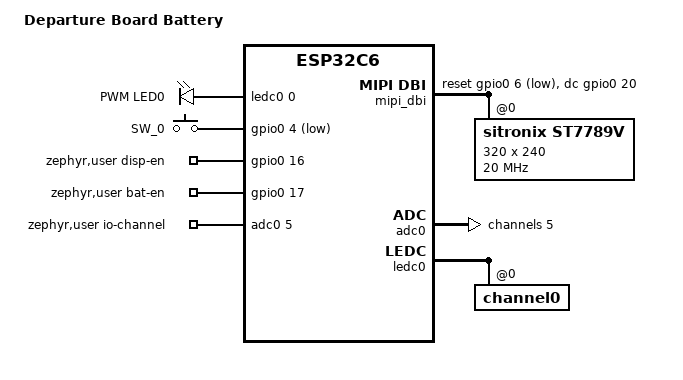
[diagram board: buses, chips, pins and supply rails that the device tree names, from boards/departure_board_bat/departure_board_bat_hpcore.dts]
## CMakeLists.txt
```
cmake_minimum_required(VERSION 3.20.0)

set(BOARD_ROOT ${CMAKE_CURRENT_SOURCE_DIR})
# Default board; "west build -b <board>" still overrides it.
if(NOT DEFINED BOARD AND NOT DEFINED ENV{BOARD})
  set(BOARD departure_board_eink/esp32c6/hpcore)
endif()

find_package(Zephyr REQUIRED HINTS $ENV{ZEPHYR_BASE})
project(departure_board)

target_sources(app PRIVATE
  src/main.c
  src/hw/hw.c
  src/net/http_client.c
  src/net/ntp.c
  src/net/wifi.c
  src/transport/transport.c
  src/transport/vrs.c
  src/transport/motis.c
  src/util/json_util.c
  src/util/time_util.c
  src/config/shell.c
  src/config/config.c
)

# A 1 bpp panel gets its own screens: the colour layout's line badges and small type do not
# survive the loss of colour, so each display keeps its own implementation of ui.h.
if(CONFIG_LV_COLOR_DEPTH_1)
  target_sources(app PRIVATE src/ui/ui_mono.c)
else()
  target_sources(app PRIVATE src/ui/ui.c)
endif()

target_sources_ifdef(CONFIG_DT_HAS_APP_DISPLAY_ROTATE_ENABLED app PRIVATE src/hw/display_rotate.c)

target_include_directories(app PRIVATE src lib/jsmn)

# Root certificates for the TLS peer check, turned into C array bodies for http_client.c.
set(gen_dir ${ZEPHYR_BINARY_DIR}/include/generated)
foreach(cert isrg_root_x1 isrg_root_ye)
  generate_inc_file_for_target(app certs/${cert}.der ${gen_dir}/${cert}.der.inc)
endforeach()

# Add Git version information if tagged with v.
execute_process(
  COMMAND git describe --tags --exact-match --match "v*" --dirty
  WORKING_DIRECTORY ${CMAKE_CURRENT_SOURCE_DIR}
  OUTPUT_VARIABLE APP_GIT_VERSION
  OUTPUT_STRIP_TRAILING_WHITESPACE
  ERROR_QUIET
)
# If the above fails, fall back to a hash of current commit.
if(NOT APP_GIT_VERSION)
  execute_process(
    COMMAND git describe --always --dirty
    WORKING_DIRECTORY ${CMAKE_CURRENT_SOURCE_DIR}
    OUTPUT_VARIABLE APP_GIT_VERSION
    OUTPUT_STRIP_TRAILING_WHITESPACE
    ERROR_QUIET
  )
endif()
if(NOT APP_GIT_VERSION)
  set(APP_GIT_VERSION "unknown")
endif()
target_compile_definitions(app PRIVATE APP_GIT_VERSION="${APP_GIT_VERSION}")

# Update the tag if something in the .git directory changes.
foreach(git_path HEAD index refs/tags)
  if(EXISTS ${CMAKE_CURRENT_SOURCE_DIR}/.git/${git_path})
    set_property(DIRECTORY APPEND PROPERTY CMAKE_CONFIGURE_DEPENDS
                 ${CMAKE_CURRENT_SOURCE_DIR}/.git/${git_path})
  endif()
endforeach()
```

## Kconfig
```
menu "Departure Board"

config APP_DISPLAY_BRIGHTNESS
	int "Display brightness in percent"
	default 50
	help
	  Backlight duty cycle, 0-100. Applied at boot before the settings are read.

config APP_DISPLAY_TIME_SEC
	int "Seconds the departure board stays on screen"
	default 30
	help
	  How long a successful update is shown before the device goes back to sleep.

config APP_ERROR_DISPLAY_TIME_SEC
	int "Seconds an error or warning stays on screen"
	default 10
	help
	  How long a fetch error or the low battery warning is shown before the device
	  goes back to sleep.

config APP_CONFIG_TIMEOUT_DEFAULT_SEC
	int "Default config mode timeout in seconds"
	default 300
	help
	  Sets advanced/config_timeout when the device has never been configured.

config APP_BUTTON_HOLD_SEC
	int "Seconds the button must be held to enter config mode"
	default 3
	help
	  How long the button must be held at boot to enter configuration mode.

config APP_BATTERY_LOW_CUTOFF_MV
	int "Battery cutoff in millivolts below which the wifi cycle is skipped"
	default 3700
	help
	  Below this measured voltage the device shows a warning and goes straight back to sleep
	  rather than bringing up the radio.

config APP_WATCHDOG_TIMEOUT_MARGIN_SEC
	int "Watchdog margin on top of the longest awake time in seconds"
	default 10
	help
	  The watchdog is armed once at startup and disabled again before entering
	  deep sleep. On expiry the device reboots.

config APP_WATCHDOG_TIMEOUT_MIN_SEC
	int "Minimum watchdog timeout in seconds"
	default 90
	help
	  Lower bound for the watchdog timeout.

# Per-module log levels

module = APP
module-str = app
source "subsys/logging/Kconfig.template.log_config"

module = APP_HW
module-str = app_hw
source "subsys/logging/Kconfig.template.log_config"

module = APP_DISPLAY_ROTATE
module-str = app_display_rotate
source "subsys/logging/Kconfig.template.log_config"

module = APP_CONFIG
module-str = app_config
source "subsys/logging/Kconfig.template.log_config"

module = APP_SHELL
module-str = app_shell
source "subsys/logging/Kconfig.template.log_config"

module = APP_HTTP_CLIENT
module-str = app_http_client
source "subsys/logging/Kconfig.template.log_config"

module = APP_WIFI
module-str = app_wifi
source "subsys/logging/Kconfig.template.log_config"

module = APP_NTP
module-str = app_ntp
source "subsys/logging/Kconfig.template.log_config"

module = APP_VRS
module-str = app_vrs
source "subsys/logging/Kconfig.template.log_config"

module = APP_MOTIS
module-str = app_motis
source "subsys/logging/Kconfig.template.log_config"

module = APP_TRANSPORT
module-str = app_transport
source "subsys/logging/Kconfig.template.log_config"

endmenu

source "Kconfig.zephyr"
```

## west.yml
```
manifest:
  version: 1.2

  self:
    path: departure-board-zephyr

  projects:
    - name: zephyr
      revision: v4.5.0
      url: https://github.com/zephyrproject-rtos/zephyr
      submodules: true
      import:
        path-prefix: zephyrproject
        name-allowlist:
          - zephyr
          - hal_espressif
          - mbedtls
          - tf-psa-crypto
          - lvgl
```

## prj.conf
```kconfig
# Kernel / system
CONFIG_SMF=y
CONFIG_REBOOT=y
CONFIG_RESET_ON_FATAL_ERROR=y
CONFIG_POWEROFF=y
CONFIG_POSIX_API=y

# Logging
CONFIG_LOG=y
CONFIG_LOG_MODE_IMMEDIATE=y
CONFIG_NET_LOG=y

# Stack and heap sizes
CONFIG_MAIN_STACK_SIZE=8192
CONFIG_ESP32_TIMER_TASK_STACK_SIZE=1024
CONFIG_SHELL_STACK_SIZE=1024
CONFIG_NET_TCP_WORKQ_STACK_SIZE=1024
CONFIG_NET_TX_STACK_SIZE=2048
CONFIG_HEAP_MEM_POOL_SIZE=65536

# Drivers
CONFIG_DISPLAY=y
CONFIG_INPUT=y
CONFIG_WATCHDOG=y

# GUI
CONFIG_LVGL=y
CONFIG_LV_FONT_MONTSERRAT_10=y
CONFIG_LV_FONT_MONTSERRAT_12=y
CONFIG_LV_FONT_MONTSERRAT_20=y
CONFIG_LV_Z_MEM_POOL_SIZE=32768

# Networking
CONFIG_NETWORKING=y
CONFIG_NET_IPV4=y
CONFIG_NET_IPV6=n
CONFIG_NET_TCP=y
CONFIG_NET_DHCPV4=y
CONFIG_NET_DHCPV4_INITIAL_DELAY_MAX=2
CONFIG_DNS_RESOLVER=y
CONFIG_HTTP_CLIENT=y
CONFIG_SNTP=y
CONFIG_NET_MGMT_EVENT_QUEUE_SIZE=24
CONFIG_NET_BUF_RX_COUNT=40
CONFIG_NET_BUF_TX_COUNT=40
CONFIG_NET_SOCKETS_CONNECT_TIMEOUT=20000
CONFIG_NET_SOCKETS_TLS_CONNECT_TIMEOUT=60000

# Wi-Fi
CONFIG_WIFI=y
CONFIG_WIFI_NM=y
CONFIG_ESP32_WIFI_STA_RECONNECT=y

# TLS sockets
CONFIG_NET_SOCKETS_SOCKOPT_TLS=y
CONFIG_NET_SOCKETS_TLS_MAX_CONTEXTS=1

# mbedTLS
CONFIG_MBEDTLS_ENABLE_HEAP=y
CONFIG_MBEDTLS_HEAP_SIZE=49152
CONFIG_MBEDTLS_SSL_IN_CONTENT_LEN=16384
CONFIG_MBEDTLS_SSL_OUT_CONTENT_LEN=2048
CONFIG_MBEDTLS_SSL_SERVER_NAME_INDICATION=y
CONFIG_MBEDTLS_CIPHERSUITE_TLS_ECDHE_ECDSA_WITH_AES_128_GCM_SHA256=y
CONFIG_MBEDTLS_CIPHERSUITE_TLS_ECDHE_ECDSA_WITH_AES_256_GCM_SHA384=y
CONFIG_MBEDTLS_CIPHERSUITE_TLS_ECDHE_RSA_WITH_AES_128_CBC_SHA256=y
CONFIG_MBEDTLS_CIPHERSUITE_TLS_ECDHE_RSA_WITH_AES_128_GCM_SHA256=y
CONFIG_MBEDTLS_CIPHERSUITE_TLS_ECDHE_RSA_WITH_AES_256_GCM_SHA384=y
CONFIG_PSA_WANT_ECC_SECP_R1_384=y
CONFIG_PSA_WANT_ECC_MONTGOMERY_255=y

# Storage / settings
CONFIG_FLASH=y
CONFIG_FLASH_MAP=y
CONFIG_ZMS=y
CONFIG_SETTINGS=y

# Shell
CONFIG_SHELL=y
CONFIG_SETTINGS_SHELL=y
# CONFIG_SHELL_WILDCARD is not set
# CONFIG_SHELL_CMDS is not set
# CONFIG_DATE_SHELL is not set
# CONFIG_DEVICE_SHELL is not set
# CONFIG_DEVMEM_SHELL is not set
# CONFIG_KERNEL_SHELL is not set
```

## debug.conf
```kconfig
# Debug log levels, layered over prj.conf:
#   west build -d build -- -DEXTRA_CONF_FILE=debug.conf
CONFIG_APP_CONFIG_LOG_LEVEL_DBG=y
CONFIG_APP_SHELL_LOG_LEVEL_DBG=y
CONFIG_SETTINGS_LOG_LEVEL_DBG=y

CONFIG_SYSTEM_WORKQUEUE_STACK_SIZE=1536

CONFIG_MBEDTLS_DEBUG=y

# Very verbose, enable when chasing a network or TLS problem.
#CONFIG_MBEDTLS_LOG_LEVEL_DBG=y
#CONFIG_NET_SOCKETS_LOG_LEVEL_DBG=y
```

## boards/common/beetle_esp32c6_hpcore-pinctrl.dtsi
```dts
#include <zephyr/dt-bindings/pinctrl/esp-pinctrl-common.h>
#include <zephyr/dt-bindings/pinctrl/esp32c6-pinctrl.h>
#include <zephyr/dt-bindings/pinctrl/esp32c6-gpio-sigmap.h>

/* The Beetle's stock UART0 sat on GPIO16/17. Both are carrier-control lines now
 * (disp-en and bat-en), so uart0 keeps a pin-free pinctrl state; the console runs over
 * usb_serial instead. */

&pinctrl {
	/* The empty pinmux is needed. */
	uart0_default: uart0_default {
		group1 {
			pinmux = <>;
			output-high;
		};

		group2 {
			pinmux = <>;
			bias-pull-up;
		};
	};

	spim2_default: spim2_default {
		group1 {
			pinmux = <SPIM2_MISO_GPIO21>,
				 <SPIM2_SCLK_GPIO23>,
				 <SPIM2_CSEL_GPIO7>;
		};

		group2 {
			pinmux = <SPIM2_MOSI_GPIO22>;
			output-low;
		};
	};

	i2c0_default: i2c0_default {
		group1 {
			pinmux = <I2C0_SDA_GPIO19>,
				 <I2C0_SCL_GPIO20>;
			bias-pull-up;
			drive-open-drain;
			output-high;
		};
	};

	i2s_default: i2s_default {
		group1 {
			pinmux = <I2S_O_SD_GPIO8>;
			output-enable;
		};
	};

	ledc0_default: ledc0_default {
		group1 {
			pinmux = <LEDC_CH0_GPIO19>;
			output-enable;
		};
	};
};
```

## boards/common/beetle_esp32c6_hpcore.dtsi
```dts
/dts-v1/;

#include <espressif/esp32c6/esp32c6.dtsi>
#include "beetle_esp32c6_hpcore-pinctrl.dtsi"
#include <zephyr/dt-bindings/input/input-event-codes.h>
#include <zephyr/dt-bindings/led/led.h>
#include <espressif/partitions_0x0_default.dtsi>

/ {
	model = "DFRobot Beetle ESP32-C6 HP Core";
	compatible = "dfrobot,firebeetle2_esp32c6";

	chosen {
		zephyr,sram = &sramhp;
		zephyr,console = &usb_serial;
		zephyr,shell-uart = &usb_serial;
		zephyr,flash = &flash0;
		zephyr,code-partition = &slot0_partition;
		led0 = &led;
	};

	aliases {
		watchdog0 = &wdt0;
		led0 = &led;
	};

	leds {
		compatible = "gpio-leds";

		led: led {
			gpios = <&gpio0 15 GPIO_ACTIVE_HIGH>;
			label = "LED";
		};
	};
};

/* The ESP32-C6-WROOM-1U-N4 module on the Beetle carries 4 MB of flash. */
&flash0 {
	reg = <0x0 DT_SIZE_M(4)>;
	ranges = <0x0 0x0 DT_SIZE_M(4)>;
};

&uart0 {
	status = "okay";
	current-speed = <115200>;
	pinctrl-0 = <&uart0_default>;
	pinctrl-names = "default";
};

/* i2c0 and i2s are left at the SoC default (disabled) on purpose - see the pin notes in
 * beetle_esp32c6_hpcore-pinctrl.dtsi. Their stock pins are taken by carrier hardware on
 * every board that includes this file, so enabling them here would hand a board a
 * peripheral that silently fights the display. A board that really wires one of them up
 * enables it, with its own pinctrl, in its own .dts. */

&trng0 {
	status = "okay";
};

&spi2 {
	#address-cells = <1>;
	#size-cells = <0>;
	status = "okay";
	pinctrl-0 = <&spim2_default>;
	pinctrl-names = "default";
};

&gpio0 {
	status = "okay";
};

&wdt0 {
	status = "okay";
};

&wifi {
	status = "okay";
};

&usb_serial {
	status = "okay";
};
```

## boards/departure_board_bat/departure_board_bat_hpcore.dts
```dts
#include "../common/beetle_esp32c6_hpcore.dtsi"
#include <zephyr/dt-bindings/mipi_dbi/mipi_dbi.h>
#include <zephyr/dt-bindings/display/panel.h>
#include <zephyr/dt-bindings/pwm/pwm.h>

/ {
	model = "Departure Board Battery";
	compatible = "departure-board-bat";

	chosen {
		zephyr,display = &st7789v;
	};

	aliases {
		ledbacklight = &leddisp;
		sw0 = &user_btn;
		adc = &adc0;
	};

	mipi_dbi {
		compatible = "zephyr,mipi-dbi-spi";
		#address-cells = <1>;
		#size-cells = <0>;
		spi-dev = <&spi2>;
		dc-gpios = <&gpio0 20 GPIO_ACTIVE_HIGH>;
		reset-gpios = <&gpio0 6 GPIO_ACTIVE_LOW>;
		write-only;

		st7789v: st7789v@0 {
			compatible = "sitronix,st7789v";
			mipi-max-frequency = <20000000>;
			reg = <0>;
			width = <320>;
			height = <240>;
			x-offset = <0>;
			y-offset = <0>;
			vcom = <0x19>;
			gctrl = <0x35>;
			vrhs = <0x12>;
			vdvs = <0x20>;
			/* MADCTL. D6/D5/D4 set the landscape orientation; D3 is the RGB/BGR
			 * order bit and stays clear, so the panel reads pixels as plain RGB
			 * and colours can be written the way they are published.
			 */
			mdac = <0x70>;
			gamma = <0x01>;
			pixel-format = <PANEL_PIXEL_FORMAT_RGB_565>;
			lcm = <0x2c>;
			porch-param = [0c 0c 00 33 33];
			cmd2en-param = [5a 69 02 01];
			pwctrl1-param = [a4 a1];
			pvgam-param = [D0 05 0A 09 08 05 2E 44 45 0F 17 16 2B 33];
			nvgam-param = [D0 05 0A 09 08 05 2E 43 45 0F 16 16 2B 33];
			ram-param = [00 f0];
			rgb-param = [cd 08 14];
			mipi-mode = "MIPI_DBI_MODE_SPI_4WIRE";
			status = "okay";
		};
	};

	pwmleds {
		compatible = "pwm-leds";

		leddisp: pwm_led_gpio0_19 {
			label = "PWM LED0";
			pwms = <&ledc0 0 PWM_HZ(1000) PWM_POLARITY_NORMAL>;
		};
	};

	gpio_keys {
		compatible = "gpio-keys";

		user_btn: button_0 {
			label = "SW_0";
			gpios = <&gpio0 4 (GPIO_PULL_UP | GPIO_ACTIVE_LOW)>;
			zephyr,code = <INPUT_KEY_0>;
		};
	};

	longpress {
		compatible = "zephyr,input-longpress";
		input-codes = <INPUT_KEY_0>;
		short-codes = <INPUT_KEY_S>;
		long-codes = <INPUT_KEY_L>;
		long-delay-ms = <4000>;
	};

	zephyr,user {
		/* ADC1 channel 5 is GPIO5, where the battery divider lands. */
		io-channels = <&adc0 5>;
		/* Battery divider: high side from the battery to the ADC pin, low side to GND. */
		vbatt-high-side-ohms = <220000>;
		vbatt-low-side-ohms = <220000>;
		disp-en-gpios = <&gpio0 16 GPIO_ACTIVE_HIGH>;
		bat-en-gpios = <&gpio0 17 GPIO_ACTIVE_HIGH>;
	};
};

&adc0 {
	#address-cells = <1>;
	#size-cells = <0>;
	status = "okay";

	channel@5 {
		reg = <5>;
		zephyr,gain = "ADC_GAIN_1_4";
		zephyr,reference = "ADC_REF_INTERNAL";
		zephyr,acquisition-time = <ADC_ACQ_TIME_DEFAULT>;
		zephyr,resolution = <12>;
	};
};

&ledc0 {
	pinctrl-0 = <&ledc0_default>;
	pinctrl-names = "default";
	status = "okay";
	#address-cells = <1>;
	#size-cells = <0>;

	channel0@0 {
		reg = <0x0>;
		timer = <0>;
	};
};
```

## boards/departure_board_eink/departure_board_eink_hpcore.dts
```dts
#include "../common/beetle_esp32c6_hpcore.dtsi"

/ {
	model = "Departure Board E-Ink";
	compatible = "departure-board-eink";

	chosen {
		zephyr,display = &display_rot;
	};

	aliases {
		sw0 = &user_btn;
	};

	mipi_dbi {
		compatible = "zephyr,mipi-dbi-spi";
		#address-cells = <1>;
		#size-cells = <0>;
		spi-dev = <&spi2>;
		dc-gpios = <&gpio0 20 GPIO_ACTIVE_HIGH>;
		reset-gpios = <&gpio0 6 GPIO_ACTIVE_LOW>;
		write-only;

		epd: uc8253@0 {
			compatible = "ultrachip,uc8253";
			mipi-max-frequency = <4000000>;
			mipi-mode = "MIPI_DBI_MODE_SPI_4WIRE";
			reg = <0>;
			busy-gpios = <&gpio0 19 GPIO_ACTIVE_LOW>;
			width = <240>;
			height = <416>;

			full {
				ccset = <0x00>;
			};

			partial {
				ccset = <0x02>;
				tsset = <0x6E>;
			};
		};
	};

	/* The panel scans portrait, the UI is landscape. See the binding for why neither the
	 * uc81xx driver nor LVGL can turn it themselves.
	 */
	display_rot: display_rot {
		compatible = "app,display-rotate";
		display = <&epd>;
		width = <416>;
		height = <240>;

		full-refresh-interval = <60>;
	};

	gpio_keys {
		compatible = "gpio-keys";

		user_btn: button_0 {
			label = "SW_0";
			gpios = <&gpio0 4 (GPIO_PULL_UP | GPIO_ACTIVE_LOW)>;
			zephyr,code = <INPUT_KEY_0>;
		};
	};

	longpress {
		compatible = "zephyr,input-longpress";
		input-codes = <INPUT_KEY_0>;
		short-codes = <INPUT_KEY_S>;
		long-codes = <INPUT_KEY_L>;
		long-delay-ms = <4000>;
	};
};
```

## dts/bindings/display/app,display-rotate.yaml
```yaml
# Copyright (c) 2026 Sebastian Salveter
# SPDX-License-Identifier: Apache-2.0

description: |
  Presents a monochrome display rotated 90 degrees clockwise.

  The UC8253 panel scans portrait (240 x 416) and has no rotation of its own:
  uc81xx implements no set_orientation, and LVGL cannot rotate for it either,
  because lv_draw_sw_rotate and lv_draw_sw_transform both skip the I1 colour
  format a 1 bit panel forces. So this node sits between LVGL and the panel,
  takes landscape writes and transposes them into the panel's orientation.

  width and height describe the rotated view, so they are the panel's height
  and width swapped.

compatible: "app,display-rotate"

include: display-controller.yaml

properties:
  display:
    type: phandle
    required: true
    description: The panel this node rotates.

  full-refresh-interval:
    type: int
    default: 60
    description: |
      How many refreshes on the panel's partial profile to allow before one is done on its
      full profile instead.

      A fast partial waveform moves only the pixels that changed, which is the point of it,
      but it also never resets the particle distribution the way a full refresh does.
      Ghosting accumulates until something clears it, and this is what clears it. Counted in
      refreshes, not in application cycles: a cycle that redraws the screen more than once
      spends more than one.

      Ignored when the panel has no partial child node, since every refresh is a full one
      already. 0 disables the periodic clear entirely.
```

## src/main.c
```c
#include <stdio.h>

#include <zephyr/kernel.h>
#include <zephyr/logging/log.h>
#include <zephyr/settings/settings.h>
#include <zephyr/smf.h>
#include <zephyr/sys/reboot.h>
#include <zephyr/sys/util.h>

#include "departure_types.h"
#include <hw/hw.h>
#include <net/ntp.h>
#include <net/wifi.h>
#include <config/config.h>
#include <transport/transport.h>
#include <ui/ui.h>

LOG_MODULE_REGISTER(app, CONFIG_APP_LOG_LEVEL);

/* ---------------------------------------- App globals ----------------------------------------- */

/* Longest the network part of a wake can take. */
#define FETCH_MAX_SEC                                                                              \
	DIV_ROUND_UP(WIFI_CONNECT_TIMEOUT_MS + NTP_GET_TIME_MAX_MS + TRANSPORT_UPDATE_MAX_MS,          \
				 MSEC_PER_SEC)

/* Departures of the current wake, filled by the app state. */
static struct monitor_data monitor_data;

/* ---------------------------------------- State machine context ------------------------------- */

/* Forward declaration of state table */
static const struct smf_state monitor_states[];

/* List of monitor states */
enum monitor_state {
	STATE_INIT,
	STATE_HOLD,
	STATE_CONFIG,
	STATE_APP,
	STATE_LOW_BATTERY,
	STATE_IDLE
};

struct s_object {
	/* This must be first */
	struct smf_ctx ctx;

	/* Events */
	struct k_event smf_event;
	int32_t events;

	/* Other state specific data add here */
	struct device_config config;
	int32_t battery_voltage;
	bool config_requested;
	bool hold_expired;
};

static struct s_object s_obj;

/* ---------------------------------------- Events ---------------------------------------------- */

/* Events that drive the state machine. */
#define EVENT_BTN_PRESS_SHORT  BIT(0)
#define EVENT_BTN_PRESS_LONG   BIT(1)
#define EVENT_BTN_RELEASE_LONG BIT(2)
#define EVENT_TIMER_EXPIRED    BIT(3)

#define EVENT_ALL                                                                                  \
	(EVENT_BTN_PRESS_SHORT | EVENT_BTN_PRESS_LONG | EVENT_BTN_RELEASE_LONG | EVENT_TIMER_EXPIRED)

/* Timeout of the current state. */
static void state_timer_expiry(struct k_timer *timer)
{
	k_event_post(&s_obj.smf_event, EVENT_TIMER_EXPIRED);
}

static K_TIMER_DEFINE(state_timer, state_timer_expiry, NULL);

static void button_event(enum hw_button_event event)
{
	switch (event) {
	case HW_BUTTON_SHORT:
		k_event_post(&s_obj.smf_event, EVENT_BTN_PRESS_SHORT);
		break;
	case HW_BUTTON_LONG:
		k_event_post(&s_obj.smf_event, EVENT_BTN_PRESS_LONG);
		break;
	case HW_BUTTON_LONG_RELEASE:
		k_event_post(&s_obj.smf_event, EVENT_BTN_RELEASE_LONG);
		break;
	}
}

/* ---------------------------------------- Helpers --------------------------------------------- */

/* Clear the monitor data. */
static void monitor_data_clear(void)
{
	for (int m = 0; m < MONITOR_COUNT; m++) {
		for (int l = 0; l < DEPARTURE_LINE_COUNT; l++) {
			monitor_data.departures[m].lines[l] = DEPARTURE_LINE_EMPTY;
		}

		monitor_data.departures[m].updated[0] = '\0';
	}
}

/* ---------------------------------------- States ---------------------------------------------- */

/* State STATE_INIT - Config Check */
static void init_entry(void *o)
{
	LOG_INF("STATE INIT - Config Check");

	struct s_object *s = (struct s_object *)o;

	/* Checked before the config. Just got back to sleep as fast as possible.*/
	if (hw_has_battery() && s->battery_voltage < CONFIG_APP_BATTERY_LOW_CUTOFF_MV) {
		LOG_WRN("Battery at %d mV, below the %d mV cutoff. Skipping the wifi cycle.",
				s->battery_voltage, CONFIG_APP_BATTERY_LOW_CUTOFF_MV);
		smf_set_state(SMF_CTX(s), &monitor_states[STATE_LOW_BATTERY]);
		return;
	}

	/* Check if config is valid. */
	int ret = config_validate();

	if (ret || s->config_requested) {
		/* Configuration error or a request from the shell, enter configuration mode. */
		if (ret) {
			LOG_ERR("Configuration faulty!");
		} else {
			LOG_INF("Configuration mode requested for this boot.");
		}
		smf_set_state(SMF_CTX(s), &monitor_states[STATE_CONFIG]);
		return;
	}

	/* The config is known good from here on, so the configured brightness can be applied. */
	hw_display_set_brightness(s->config.device_brightness);

	/* User is holding down the button during startup, go to hold state. */
	if (hw_button_is_pressed()) {
		smf_set_state(SMF_CTX(s), &monitor_states[STATE_HOLD]);
	} else {
		smf_set_state(SMF_CTX(s), &monitor_states[STATE_APP]);
	}
}

/* State STATE_HOLD - Button held at boot. */
static void hold_entry(void *o)
{
	LOG_INF("STATE_HOLD");

	struct s_object *s = (struct s_object *)o;

	s->hold_expired = false;

	/* Button is pressed, start counting. */
	ui_button_pressed(false);
	k_timer_start(&state_timer, K_SECONDS(CONFIG_APP_BUTTON_HOLD_SEC), K_NO_WAIT);
}

static enum smf_state_result hold_run(void *o)
{
	struct s_object *s = (struct s_object *)o;

	if (s->events & EVENT_TIMER_EXPIRED) {
		/* Held for the full duration, enter config mode as soon as button is released. */
		s->hold_expired = true;
		ui_button_pressed(true);
	}

	if (s->events & (EVENT_BTN_PRESS_SHORT | EVENT_BTN_RELEASE_LONG)) {
		if (s->hold_expired) {
			smf_set_state(SMF_CTX(s), &monitor_states[STATE_CONFIG]);
		} else {
			/* Released early, go back to normal operation. */
			k_timer_stop(&state_timer);
			smf_set_state(SMF_CTX(s), &monitor_states[STATE_APP]);
		}
	}
	return SMF_EVENT_HANDLED;
}

/* State STATE_CONFIG - Enable configuration.*/
static void config_entry(void *o)
{
	LOG_INF("STATE CONFIG");
	ui_configuration();

	struct s_object *s = (struct s_object *)o;

	k_timer_start(&state_timer, K_SECONDS(s->config.advanced_config_timeout), K_NO_WAIT);
}

static enum smf_state_result config_run(void *o)
{
	struct s_object *s = (struct s_object *)o;

	/* Change states on Button Press Event. */
	if (s->events & (EVENT_BTN_PRESS_SHORT | EVENT_TIMER_EXPIRED)) {
		k_timer_stop(&state_timer);
		if (IS_ENABLED(CONFIG_APP_DEEP_SLEEP)) {
			smf_set_state(SMF_CTX(s), &monitor_states[STATE_IDLE]);
		} else {
			/* Settings only apply at boot, so reboot instead of idling with the old ones. */
			LOG_INF("Leaving config mode, rebooting.");
			sys_reboot(SYS_REBOOT_COLD);
		}
	}
	return SMF_EVENT_HANDLED;
}

/* State STATE_APP - Normal application operation. */
static void app_entry(void *o)
{
	LOG_INF("STATE_APP");

	struct s_object *s = (struct s_object *)o;

	const char *const labels[MONITOR_COUNT] = {s->config.monitor_a_label,
											   s->config.monitor_b_label};
	const char *const ids[MONITOR_COUNT] = {s->config.monitor_a_id, s->config.monitor_b_id};

	/* How long the result stays up with deep sleep. Errors show for the shorter time. */
	int32_t display_sec = CONFIG_APP_ERROR_DISPLAY_TIME_SEC;

	/* Set the labels. */
	monitor_data_clear();
	for (int m = 0; m < MONITOR_COUNT; m++) {
		snprintf(monitor_data.departures[m].label, sizeof(monitor_data.departures[m].label), "%s",
				 labels[m]);
	}

	/* Run status display. */
	ui_progress(s->battery_voltage, UI_STEP_PENDING, UI_STEP_PENDING);

	int ret = 0;

	/* Without deep sleep the connection is kept between cycles. */
	if (wifi_is_connected()) {
		LOG_INF("WiFi still connected.");
	} else {
		LOG_INF("Connecting to WiFi.");
		ret = wifi_connect(s->config.wifi_ssid, s->config.wifi_password);
	}

	if (ret) {
		LOG_ERR("Wifi connection failed: %d", ret);
		/* wifi_connect() has already stopped the driver's retries. */
		ui_progress(s->battery_voltage, ret, UI_STEP_PENDING);
		goto done;
	}

	/* Update display. */
	ui_progress(s->battery_voltage, 0, UI_STEP_PENDING);

	/* Update data. The departure minutes are counted from the current time. */
	int64_t current_time;

	ret = ntp_get_time(&current_time);
	if (ret == 0) {
		ret = transport_update(&monitor_data, s->config.monitor_module, ids,
							   s->config.monitor_base_link, s->config.advanced_tls_verify != 0,
							   current_time);
	}

	/* The fetch is over either way, nothing below this needs the radio. Without deep sleep the
	 * connection is kept for the next refresh.
	 */
	if (IS_ENABLED(CONFIG_APP_DEEP_SLEEP)) {
		wifi_disconnect();
	}

	if (ret) {
		LOG_ERR("Failed to update monitor data: %d", ret);
		ui_progress(s->battery_voltage, 0, ret);
		goto done;
	}

	/* Update display with the received data. */
	ui_update(&monitor_data, hw_battery_percent_from_mv(s->battery_voltage));
	display_sec = s->config.device_display_time;

done:
	/* Drop button and timer events posted while loading. */
	k_event_clear(&s->smf_event, EVENT_ALL);

	if (IS_ENABLED(CONFIG_APP_DEEP_SLEEP)) {
		/* Display the result for the specified duration. */
		k_timer_start(&state_timer, K_SECONDS(display_sec), K_NO_WAIT);
	} else {
		/* Idle right away, the result stays on screen until the next refresh. */
		smf_set_state(SMF_CTX(s), &monitor_states[STATE_IDLE]);
	}
}

static enum smf_state_result app_run(void *o)
{
	struct s_object *s = (struct s_object *)o;

	if (s->events & EVENT_BTN_PRESS_SHORT) {
		k_timer_stop(&state_timer);
		smf_set_state(SMF_CTX(s), &monitor_states[STATE_IDLE]);
	} else if (s->events & EVENT_TIMER_EXPIRED) {
		smf_set_state(SMF_CTX(s), &monitor_states[STATE_IDLE]);
	}
	return SMF_EVENT_HANDLED;
}

/* State STATE_LOW_BATTERY - Warn and go back to sleep without ever starting the radio. */
static void low_battery_entry(void *o)
{
	LOG_INF("STATE_LOW_BATTERY");

	struct s_object *s = (struct s_object *)o;

	ui_battery_low(s->battery_voltage);

	k_timer_start(&state_timer, K_SECONDS(CONFIG_APP_ERROR_DISPLAY_TIME_SEC), K_NO_WAIT);
}

static enum smf_state_result low_battery_run(void *o)
{
	struct s_object *s = (struct s_object *)o;

	/* Any button also ends the wake. */
	if (s->events & (EVENT_TIMER_EXPIRED | EVENT_BTN_PRESS_SHORT | EVENT_BTN_PRESS_LONG)) {
		k_timer_stop(&state_timer);
		smf_set_state(SMF_CTX(s), &monitor_states[STATE_IDLE]);
	}
	return SMF_EVENT_HANDLED;
}

/* State STATE_IDLE - Deep sleep, or wait for the next refresh without it. */
static void idle_entry(void *o)
{
	LOG_INF("STATE_IDLE");

#if defined(CONFIG_APP_DEEP_SLEEP)
	hw_enter_deep_sleep();
#else
	/* Watchdog needs to be fed in case we don't enter deep sleep. */
	hw_watchdog_feed();
	k_timer_start(&state_timer, K_SECONDS(CONFIG_APP_IDLE_INTERVAL_SEC), K_NO_WAIT);
#endif
}

static enum smf_state_result idle_run(void *o)
{
	/* Only reached without deep sleep, idle_entry powers off the device otherwise. */
	struct s_object *s = (struct s_object *)o;

	/* Any button refreshes right away. */
	if (s->events & (EVENT_TIMER_EXPIRED | EVENT_BTN_PRESS_SHORT | EVENT_BTN_PRESS_LONG)) {
		k_timer_stop(&state_timer);
		smf_set_state(SMF_CTX(s), &monitor_states[STATE_APP]);
	}
	return SMF_EVENT_HANDLED;
}

/* State table */
static const struct smf_state monitor_states[] = {
	[STATE_INIT] = SMF_CREATE_STATE(init_entry, NULL, NULL, NULL, NULL),
	[STATE_HOLD] = SMF_CREATE_STATE(hold_entry, hold_run, NULL, NULL, NULL),
	[STATE_CONFIG] = SMF_CREATE_STATE(config_entry, config_run, NULL, NULL, NULL),
	[STATE_APP] = SMF_CREATE_STATE(app_entry, app_run, NULL, NULL, NULL),
	[STATE_LOW_BATTERY] = SMF_CREATE_STATE(low_battery_entry, low_battery_run, NULL, NULL, NULL),
	[STATE_IDLE] = SMF_CREATE_STATE(idle_entry, idle_run, NULL, NULL, NULL),
};

/* ---------------------------------------- Main loop ------------------------------------------- */

int main(void)
{
	/* Initialize the event and register for button gestures before the rails come up, so that
	 * a button press during startup has somewhere to go.
	 */
	k_event_init(&s_obj.smf_event);
	hw_button_set_callback(button_event);

	if (hw_power_up()) {
		hw_device_failure("GPIO port");
	}

	/* Initialize settings subsystem and load configuration. */
	int ret = settings_subsys_init();

	if (ret == 0) {
		ret = settings_load();
	}
	if (ret < 0) {
		LOG_ERR("Failed to load settings: %d", ret);
	}

	s_obj.config_requested = config_check_boot_request();

	s_obj.config = *config_get();

	/* Arm the watchdog once the timeouts are known. With deep sleep it covers the whole wake and is
	 * not fed. Without it the idle state feeds it, so it covers one idle interval plus a refresh.
	 */
#if defined(CONFIG_APP_DEEP_SLEEP)
	int32_t update_sec =
		FETCH_MAX_SEC + MAX(s_obj.config.device_display_time, CONFIG_APP_ERROR_DISPLAY_TIME_SEC);
#else
	int32_t update_sec = FETCH_MAX_SEC + CONFIG_APP_IDLE_INTERVAL_SEC;
#endif
	int32_t config_sec = CONFIG_APP_BUTTON_HOLD_SEC + s_obj.config.advanced_config_timeout;

	if (hw_watchdog_start(MAX(update_sec, config_sec))) {
		hw_device_failure("Watchdog");
	}

	/* Read battery voltage.*/
	if (hw_has_battery()) {
		ret = hw_battery_read_mv(&s_obj.battery_voltage);
		if (ret < 0) {
			hw_device_failure("Battery ADC");
		}
		LOG_INF("Battery voltage: %d mV", s_obj.battery_voltage);
	}

	/* Check if devices have been initialized. */
	if (!hw_display_is_ready()) {
		hw_device_failure("Display");
	}

	/* Set backlight brightness. */
	hw_display_set_brightness(CONFIG_APP_DISPLAY_BRIGHTNESS);

	ui_clear();
	hw_display_blanking_off();

	/* Set initial state */
	smf_set_initial(SMF_CTX(&s_obj), &monitor_states[STATE_INIT]);

	/* Run the state machine */
	while (1) {
		/* Block until an event is detected */
		s_obj.events = k_event_wait_safe(&s_obj.smf_event, EVENT_ALL, false, K_FOREVER);

		/* State machine terminates if a non-zero value is returned */
		ret = smf_run_state(SMF_CTX(&s_obj));
		if (ret) {
			/* handle return code and terminate state machine */
			break;
		}
	}

	/* Should never be reached. Still caught by watchdog. */
	return 0;
}
```

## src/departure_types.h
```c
#ifndef APP_DEPARTURE_TYPES_H_
#define APP_DEPARTURE_TYPES_H_

#include <stdint.h>

struct departure_line {
	char line_number[5];
	uint32_t line_color;
	uint32_t line_text_color;
	char destination[17];
	int32_t departure_minutes; /* Minutes until departure, or DEPARTURE_NO_DATA. */
};

/* Departure_minutes of a row without a departure. */
#define DEPARTURE_NO_DATA (-1)

/* Initialiser for a row without a departure. */
#define DEPARTURE_LINE_EMPTY ((struct departure_line){.departure_minutes = DEPARTURE_NO_DATA})

/* Stations shown on the screen, A and B. */
#define MONITOR_COUNT 2

/* Departures listed per station. */
#define DEPARTURE_LINE_COUNT 2

struct departure_data {
	char label[30];
	char updated[6]; /* "HH:MM\0" */
	struct departure_line lines[DEPARTURE_LINE_COUNT];
};

struct monitor_data {
	struct departure_data departures[MONITOR_COUNT];
};

#endif /* APP_DEPARTURE_TYPES_H_ */
```
